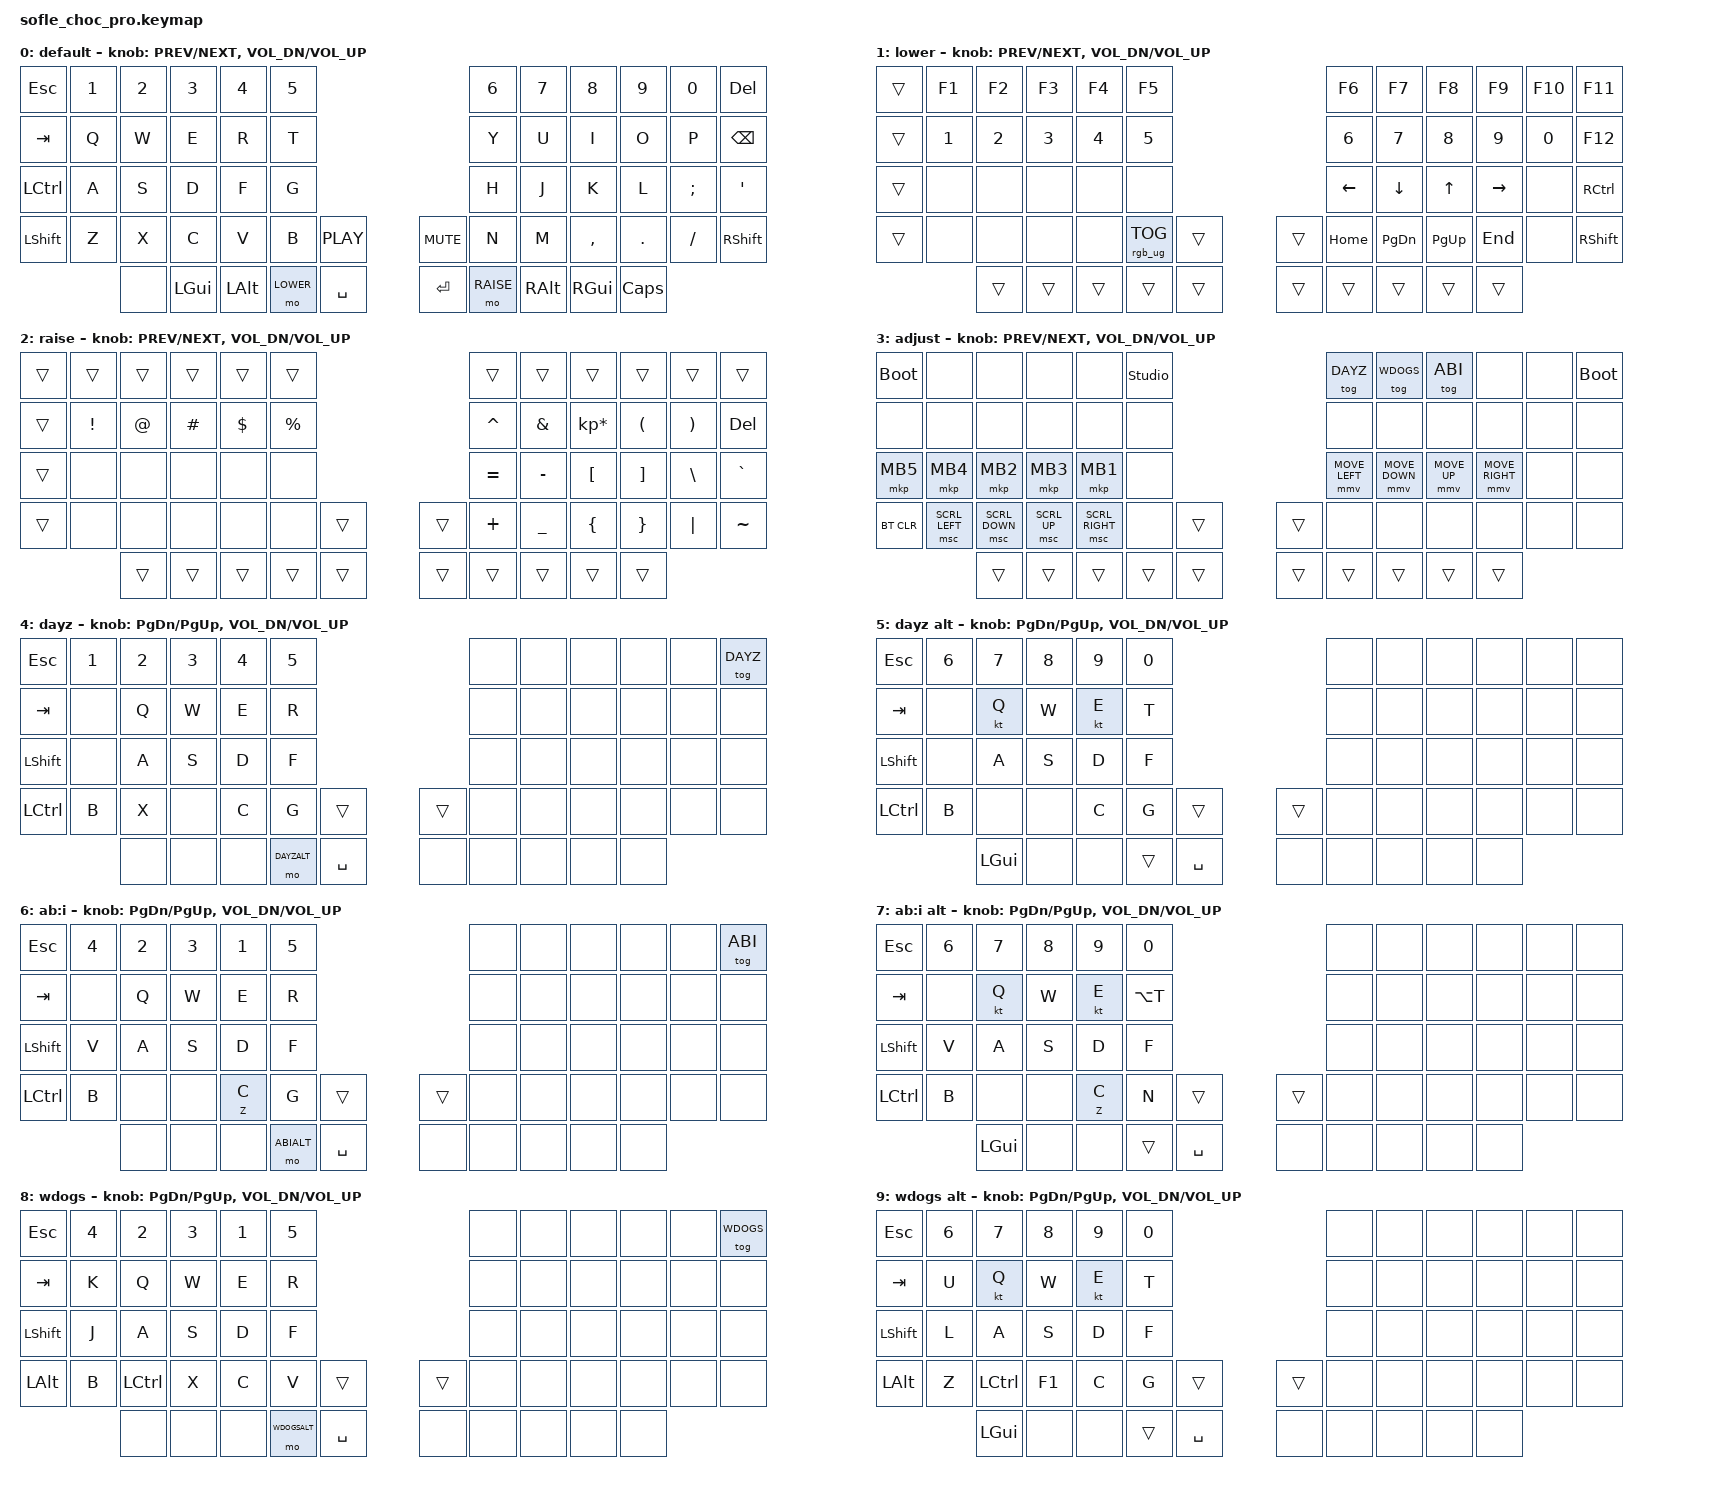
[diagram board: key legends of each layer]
/*
* Copyright (c) 2020 The ZMK Contributors
*
* SPDX-License-Identifier: MIT
*/

#include <behaviors.dtsi>
#include <dt-bindings/zmk/keys.h>
#include <dt-bindings/zmk/bt.h>
#include <dt-bindings/zmk/rgb.h>
#include <dt-bindings/zmk/ext_power.h>
#include <dt-bindings/zmk/pointing.h>
#include <dt-bindings/zmk/behaviors.h>

#define BASE 0
#define LOWER 1
#define RAISE 2
#define ADJUST 3

#define DAYZ 4
#define DAYZALT 5

#define ABI 6
#define ABIALT 7

#define WDOGS 8
#define WDOGSALT 9

#define ZMK_POINTING_DEFAULT_MOVE_VAL 1500  // default: 600
#define ZMK_POINTING_DEFAULT_SCRL_VAL 20    // default: 10

/ {
  // Activate ADJUST layer by pressing raise and lower
  conditional_layers {
    compatible = "zmk,conditional-layers";
    adjust_layer {
      if-layers = <LOWER RAISE>;
      then-layer = <ADJUST>;
    };
  };

  behaviors {
    mt: mod_tap {
        compatible = "zmk,behavior-hold-tap";
        #binding-cells = <2>;
        flavor = "tap-preferred";
        tapping-term-ms = <350>;
        bindings = <&kp>, <&kp>;
        display-name = "Mod-Tap";
    };
  };

  keymap {
    compatible = "zmk,keymap";

    default_layer {
      display-name = "default";
      // ┌─────┬─────┬─────┬─────┬─────┬─────┬──────────────────┬─────┬─────┬─────┬─────┬─────┬─────┐
      // │ ESC │  1  │  2  │  3  │  4  │  5  │                  │  6  │  7  │  8  │  9  │  0  │ DEL │
      // ├─────┼─────┼─────┼─────┼─────┼─────┼──────────────────┼─────┼─────┼─────┼─────┼─────┼─────┤
      // │ TAB │  Q  │  W  │  E  │  R  │  T  │                  │  Y  │  U  │  I  │  O  │  P  │ BSPC│
      // ├─────┼─────┼─────┼─────┼─────┼─────┼──────────────────┼─────┼─────┼─────┼─────┼─────┼─────┤
      // │ CTRL│  A  │  S  │  D  │  F  │  G  │                  │  H  │  J  │  K  │  L  │  ;  │  '  │
      // ├─────┼─────┼─────┼─────┼─────┼─────┼──────────────────┼─────┼─────┼─────┼─────┼─────┼─────┤
      // │ SHFT│  Z  │  X  │  C  │  V  │  B  │    PLAY   MUTE   │  N  │  M  │  ,  │  .  │  /  │ SHFT│
      // └─────┴─────┴─────┴─────┴─────┴─────┴──────────────────┴─────┴─────┴─────┴─────┴─────┴─────┘
      // ┌─────┬─────┬─────┬─────┬─────┬──────────────────────────────┬─────┬─────┬─────┬─────┬─────┐
      // │     │ GUI │ ALT │LOWER│SPACE│                              │ENTER│RAISE│ ALT │ GUI │CAPS │
      // └─────┴─────┴─────┴─────┴─────┴──────────────────────────────┴─────┴─────┴─────┴─────┴─────┘
      bindings = <
        &kp ESC   &kp N1 &kp N2  &kp N3 &kp N4 &kp N5                           &kp N6 &kp N7 &kp N8    &kp N9  &kp N0   &kp DEL
        &kp TAB   &kp Q  &kp W   &kp E  &kp R  &kp T                            &kp Y  &kp U  &kp I     &kp O   &kp P    &kp BSPC
        &kp LCTRL &kp A  &kp S   &kp D  &kp F  &kp G                            &kp H  &kp J  &kp K     &kp L   &kp SEMI &kp SQT
        &kp LSHFT &kp Z  &kp X   &kp C  &kp V  &kp B   &kp C_PLAY &kp C_MUTE    &kp N  &kp M  &kp COMMA &kp DOT &kp FSLH &kp RSHFT
          &none &kp LGUI &kp LALT &mo LOWER &kp SPACE      &kp RET &mo RAISE &kp RALT &kp RGUI &kp CAPS
      >;

      sensor-bindings = <&inc_dec_kp C_PREV C_NEXT &inc_dec_kp C_VOL_DN C_VOL_UP>;
    };

    lower_layer {
      display-name = "lower";
      // ┌─────┬─────┬─────┬─────┬─────┬─────┬──────────────────┬─────┬─────┬─────┬─────┬─────┬─────┐
      // │ ··· │  F1 │  F2 │  F3 │  F4 │  F5 │                  │  F6 │  F7 │  F8 │  F9 │ F10 │ F11 │
      // ├─────┼─────┼─────┼─────┼─────┼─────┼──────────────────┼─────┼─────┼─────┼─────┼─────┼─────┤
      // │ ··· │  1  │  2  │  3  │  4  │  5  │                  │  6  │  7  │  8  │  9  │  0  │ F12 │
      // ├─────┼─────┼─────┼─────┼─────┼─────┼──────────────────┼─────┼─────┼─────┼─────┼─────┼─────┤
      // │ ··· │     │     │     │     │     │                  │  ←  │  ↓  │  ↑  │  →  │     │RCTRL│
      // ├─────┼─────┼─────┼─────┼─────┼─────┼──────────────────┼─────┼─────┼─────┼─────┼─────┼─────┤
      // │ ··· │     │     │     │     │ RGB │     ···  ···     │ HOME│ PGDN│ PGUP│ END │     │RSHFT│
      // └─────┴─────┴─────┴─────┴─────┴─────┴──────────────────┴─────┴─────┴─────┴─────┴─────┴─────┘
      // ┌─────┬─────┬─────┬─────┬─────┬──────────────────────────────┬─────┬─────┬─────┬─────┬─────┐
      // │ ··· │ ··· │ ··· │ ··· │ ··· │                              │ ··· │ ··· │ ··· │ ··· │ ··· │
      // └─────┴─────┴─────┴─────┴─────┴──────────────────────────────┴─────┴─────┴─────┴─────┴─────┘
      // ··· = transparent (base layer key)
      bindings = <
        &trans   &kp F1   &kp F2 &kp F3 &kp F4 &kp F5                            &kp F6    &kp F7   &kp F8    &kp F9    &kp F10   &kp F11
        &trans   &kp N1   &kp N2 &kp N3 &kp N4 &kp N5                            &kp N6   &kp N7    &kp N8    &kp N9    &kp N0 &kp F12
        &trans   &none    &none  &none  &none  &none                             &kp LEFT &kp DOWN  &kp UP    &kp RIGHT &none  &kp RCTRL
        &trans   &none    &none  &none  &none  &rgb_ug RGB_TOG &trans   &trans   &kp HOME &kp PG_DN &kp PG_UP &kp END   &none  &kp RSHFT
          &trans   &trans      &trans    &trans     &trans                         &trans  &trans    &trans   &trans    &trans
      >;

      sensor-bindings = <&inc_dec_kp C_PREV C_NEXT &inc_dec_kp C_VOL_DN C_VOL_UP>;
    };

    raise_layer {
      display-name = "raise";
      // ┌─────┬─────┬─────┬─────┬─────┬─────┬──────────────────┬─────┬─────┬─────┬─────┬─────┬─────┐
      // │ ··· │ ··· │ ··· │ ··· │ ··· │ ··· │                  │ ··· │ ··· │ ··· │ ··· │ ··· │ ··· │
      // ├─────┼─────┼─────┼─────┼─────┼─────┼──────────────────┼─────┼─────┼─────┼─────┼─────┼─────┤
      // │ ··· │  !  │  @  │  #  │  $  │  %  │                  │  ^  │  &  │  *  │  (  │  )  │ DEL │
      // ├─────┼─────┼─────┼─────┼─────┼─────┼──────────────────┼─────┼─────┼─────┼─────┼─────┼─────┤
      // │ ··· │     │     │     │     │     │                  │  =  │  -  │  [  │  ]  │  \  │  `  │
      // ├─────┼─────┼─────┼─────┼─────┼─────┼──────────────────┼─────┼─────┼─────┼─────┼─────┼─────┤
      // │ ··· │     │     │     │     │     │     ···  ···     │  +  │  _  │  {  │  }  │  |  │  ~  │
      // └─────┴─────┴─────┴─────┴─────┴─────┴──────────────────┴─────┴─────┴─────┴─────┴─────┴─────┘
      // ┌─────┬─────┬─────┬─────┬─────┬──────────────────────────────┬─────┬─────┬─────┬─────┬─────┐
      // │ ··· │ ··· │ ··· │ ··· │ ··· │                              │ ··· │ ··· │ ··· │ ··· │ ··· │
      // └─────┴─────┴─────┴─────┴─────┴──────────────────────────────┴─────┴─────┴─────┴─────┴─────┘
      // ··· = transparent (base layer key)
      bindings = <
        &trans    &trans    &trans    &trans     &trans     &trans                         &trans    &trans    &trans          &trans   &trans   &trans
        &trans    &kp EXCL  &kp AT    &kp HASH   &kp DOLLAR &kp PRCNT                      &kp CARET &kp AMPS  &kp KP_MULTIPLY &kp LPAR &kp RPAR &kp DEL
        &trans    &none     &none     &none      &none      &none                          &kp EQUAL &kp MINUS &kp LBKT        &kp RBKT &kp BSLH &kp GRAVE
        &trans    &none     &none     &none      &none      &none      &trans   &trans     &kp PLUS  &kp UNDER &kp LBRC        &kp RBRC &kp PIPE &kp TILDE
          &trans       &trans       &trans       &trans          &trans                &trans    &trans    &trans    &trans    &trans
      >;

      sensor-bindings = <&inc_dec_kp C_PREV C_NEXT &inc_dec_kp C_VOL_DN C_VOL_UP>;
    };

    adjust_layer {
      // ┌─────┬─────┬─────┬─────┬─────┬─────┬──────────────────┬─────┬─────┬─────┬─────┬─────┬─────┐
      // │RESET│     │     │     │     │UNLCK│                  │DAYZ │WDOGS│AB:I │     │     │RESET│
      // ├─────┼─────┼─────┼─────┼─────┼─────┼──────────────────┼─────┼─────┼─────┼─────┼─────┼─────┤
      // │     │     │     │     │     │     │                  │     │     │     │     │     │     │
      // ├─────┼─────┼─────┼─────┼─────┼─────┼──────────────────┼─────┼─────┼─────┼─────┼─────┼─────┤
      // │ MB5 │ MB4 │ MB2 │ MB3 │ MB1 │     │                  │  m← │  m↓ │  m↑ │  m→ │     │     │
      // ├─────┼─────┼─────┼─────┼─────┼─────┼──────────────────┼─────┼─────┼─────┼─────┼─────┼─────┤
      // │BTCLR│  s← │  s↓ │  s↑ │  s→ │     │     ···  ···     │     │ BT0 │ BT1 │ BT2 │ BT3 │ BT4 │
      // └─────┴─────┴─────┴─────┴─────┴─────┴──────────────────┴─────┴─────┴─────┴─────┴─────┴─────┘
      // ┌─────┬─────┬─────┬─────┬─────┬──────────────────────────────┬─────┬─────┬─────┬─────┬─────┐
      // │ ··· │ ··· │ ··· │ ··· │ ··· │                              │ ··· │ ··· │ ··· │ ··· │ ··· │
      // └─────┴─────┴─────┴─────┴─────┴──────────────────────────────┴─────┴─────┴─────┴─────┴─────┘
      // UNLK = unlock Sofle Studio  ·  m = mouse move  ·  s = scroll  ·  ··· = transparent
      display-name = "adjust";
      bindings = <
        &bootloader    &none          &none          &none        &none           &studio_unlock                 &tog DAYZ       &tog WDOGS      &tog ABI      &none            &none   &bootloader
        &none          &none          &none          &none        &none           &none                          &none           &none           &none         &none            &none   &none
        &mkp MB5       &mkp MB4       &mkp MB2       &mkp MB3     &mkp MB1        &none                          &mmv MOVE_LEFT  &mmv MOVE_DOWN  &mmv MOVE_UP  &mmv MOVE_RIGHT  &none   &none
        &bt BT_CLR     &msc SCRL_LEFT &msc SCRL_DOWN &msc SCRL_UP &msc SCRL_RIGHT &none   &trans    &trans       &none           &none           &none         &none            &none   &none
         &trans       &trans       &trans       &trans          &trans                &trans    &trans    &trans    &trans    &trans
      >;
      sensor-bindings = <&inc_dec_kp C_PREV C_NEXT &inc_dec_kp C_VOL_DN C_VOL_UP>;
    };

    dayz_layer {
      display-name = "dayz";
      // ┌─────┬─────┬─────┬─────┬─────┬─────┬──────────────────┬─────┬─────┬─────┬─────┬─────┬─────┐
      // │ ESC │  1  │  2  │  3  │  4  │  5  │                  │     │     │     │     │     │!DAYZ│
      // ├─────┼─────┼─────┼─────┼─────┼─────┼──────────────────┼─────┼─────┼─────┼─────┼─────┼─────┤
      // │ TAB │     │  Q  │  W  │  E  │  R  │                  │     │     │     │     │     │     │
      // ├─────┼─────┼─────┼─────┼─────┼─────┼──────────────────┼─────┼─────┼─────┼─────┼─────┼─────┤
      // │ SHFT│     │  A  │  S  │  D  │  F  │                  │     │     │     │     │     │     │
      // ├─────┼─────┼─────┼─────┼─────┼─────┼──────────────────┼─────┼─────┼─────┼─────┼─────┼─────┤
      // │ CTRL│  B  │  X  │     │  C  │  G  │     ···  ···     │     │     │     │     │     │     │
      // └─────┴─────┴─────┴─────┴─────┴─────┴──────────────────┴─────┴─────┴─────┴─────┴─────┴─────┘
      // ┌─────┬─────┬─────┬─────┬─────┬──────────────────────────────┬─────┬─────┬─────┬─────┬─────┐
      // │     │     │     │DAYZ │SPACE│                              │     │     │     │     │     │
      // └─────┴─────┴─────┴─────┴─────┴──────────────────────────────┴─────┴─────┴─────┴─────┴─────┘
      bindings = <
        &kp ESC   &kp N1 &kp N2  &kp N3 &kp N4 &kp N5                           &none  &none  &none  &none  &none  &tog DAYZ
        &kp TAB   &none  &kp Q   &kp W  &kp E  &kp R                            &none  &none  &none  &none  &none  &none
        &kp LSHFT &none  &kp A  &kp S   &kp D  &kp F                            &none  &none  &none  &none  &none  &none
        &kp LCTRL &kp B  &kp X   &none  &kp C  &kp G     &trans     &trans      &none  &none  &none  &none  &none  &none
          &none  &none  &none  &mo DAYZALT &kp SPACE                                 &none  &none  &none  &none  &none
      >;
      sensor-bindings = <&inc_dec_kp PG_DN PG_UP &inc_dec_kp C_VOL_DN C_VOL_UP>;
    };
    
    dayz_alt_layer {
      display-name = "dayz alt";
      // ┌─────┬─────┬─────┬─────┬─────┬─────┬──────────────────┬─────┬─────┬─────┬─────┬─────┬─────┐
      // │ ESC │  6  │  7  │  8  │  9  │  0  │                  │     │     │     │     │     │     │
      // ├─────┼─────┼─────┼─────┼─────┼─────┼──────────────────┼─────┼─────┼─────┼─────┼─────┼─────┤
      // │ TAB │     │  Q  │  W  │  E  │  T  │                  │     │     │     │     │     │     │
      // ├─────┼─────┼─────┼─────┼─────┼─────┼──────────────────┼─────┼─────┼─────┼─────┼─────┼─────┤
      // │ SHFT│     │  A  │  S  │  D  │  F  │                  │     │     │     │     │     │     │
      // ├─────┼─────┼─────┼─────┼─────┼─────┼──────────────────┼─────┼─────┼─────┼─────┼─────┼─────┤
      // │ CTRL│  B  │     │     │  C  │  G  │     ···  ···     │     │     │     │     │     │     │
      // └─────┴─────┴─────┴─────┴─────┴─────┴──────────────────┴─────┴─────┴─────┴─────┴─────┴─────┘
      // ┌─────┬─────┬─────┬─────┬─────┬──────────────────────────────┬─────┬─────┬─────┬─────┬─────┐
      // │LGUI │     │     │ ... │SPACE│                              │     │     │     │     │     │
      // └─────┴─────┴─────┴─────┴─────┴──────────────────────────────┴─────┴─────┴─────┴─────┴─────┘
      bindings = <
        &kp ESC   &kp N6 &kp N7  &kp N8 &kp N9 &kp N0                           &none  &none  &none  &none  &none  &none
        &kp TAB   &none  &kt Q   &kp W  &kt E  &kp T                            &none  &none  &none  &none  &none  &none
        &kp LSHFT &none  &kp A   &kp S  &kp D  &kp F                            &none  &none  &none  &none  &none  &none
        &kp LCTRL &kp B  &none   &none  &kp C  &kp G     &trans     &trans      &none  &none  &none  &none  &none  &none
          &kp LGUI  &none  &none  &trans &kp SPACE                                 &none  &none  &none  &none  &none
      >;
      sensor-bindings = <&inc_dec_kp PG_DN PG_UP &inc_dec_kp C_VOL_DN C_VOL_UP>;
    };

    abi_layer {
      display-name = "ab:i";
      // ┌─────┬─────┬─────┬─────┬─────┬─────┬──────────────────┬─────┬─────┬─────┬─────┬─────┬─────┐
      // │ ESC │  4  │  2  │  3  │  1  │  5  │                  │     │     │     │     │     │!AB:I│
      // ├─────┼─────┼─────┼─────┼─────┼─────┼──────────────────┼─────┼─────┼─────┼─────┼─────┼─────┤
      // │ TAB │     │  Q  │  W  │  E  │  R  │                  │     │     │     │     │     │     │
      // ├─────┼─────┼─────┼─────┼─────┼─────┼──────────────────┼─────┼─────┼─────┼─────┼─────┼─────┤
      // │ SHFT│  V  │  A  │  S  │  D  │  F  │                  │     │     │     │     │     │     │
      // ├─────┼─────┼─────┼─────┼─────┼─────┼──────────────────┼─────┼─────┼─────┼─────┼─────┼─────┤
      // │ CTRL│  B  │     │     │ Z|C │  G  │     ···  ···     │     │     │     │     │     │     │
      // └─────┴─────┴─────┴─────┴─────┴─────┴──────────────────┴─────┴─────┴─────┴─────┴─────┴─────┘
      // ┌─────┬─────┬─────┬─────┬─────┬──────────────────────────────┬─────┬─────┬─────┬─────┬─────┐
      // │     │     │     │AB:I │SPACE│                              │     │     │     │     │     │
      // └─────┴─────┴─────┴─────┴─────┴──────────────────────────────┴─────┴─────┴─────┴─────┴─────┘
      bindings = <
        &kp ESC   &kp N4 &kp N2  &kp N3 &kp N1  &kp N5                           &none  &none  &none  &none  &none  &tog ABI
        &kp TAB   &none  &kp Q   &kp W  &kp E   &kp R                            &none  &none  &none  &none  &none  &none
        &kp LSHFT &kp V  &kp A   &kp S  &kp D   &kp F                            &none  &none  &none  &none  &none  &none
        &kp LCTRL &kp B  &none   &none  &mt Z C &kp G     &trans     &trans      &none  &none  &none  &none  &none  &none
          &none  &none  &none  &mo ABIALT &kp SPACE                                &none  &none  &none  &none  &none
      >;
      sensor-bindings = <&inc_dec_kp PG_DN PG_UP &inc_dec_kp C_VOL_DN C_VOL_UP>;
    };
    
    abi_alt_layer {
      display-name = "ab:i alt";
      // ┌─────┬─────┬─────┬─────┬─────┬─────┬──────────────────┬─────┬─────┬─────┬─────┬─────┬─────┐
      // │ ESC │  6  │  7  │  8  │  9  │  0  │                  │     │     │     │     │     │     │
      // ├─────┼─────┼─────┼─────┼─────┼─────┼──────────────────┼─────┼─────┼─────┼─────┼─────┼─────┤
      // │ TAB │     │ Q(t)│  W  │ E(t)│T(la)│                  │     │     │     │     │     │     │
      // ├─────┼─────┼─────┼─────┼─────┼─────┼──────────────────┼─────┼─────┼─────┼─────┼─────┼─────┤
      // │ SHFT│  V  │  A  │  S  │  D  │  F  │                  │     │     │     │     │     │     │
      // ├─────┼─────┼─────┼─────┼─────┼─────┼──────────────────┼─────┼─────┼─────┼─────┼─────┼─────┤
      // │ CTRL│  B  │     │     │ Z|C │  N  │     ···  ···     │     │     │     │     │     │     │
      // └─────┴─────┴─────┴─────┴─────┴─────┴──────────────────┴─────┴─────┴─────┴─────┴─────┴─────┘
      // ┌─────┬─────┬─────┬─────┬─────┬──────────────────────────────┬─────┬─────┬─────┬─────┬─────┐
      // │LGUI │     │     │ ... │SPACE│                              │     │     │     │     │     │
      // └─────┴─────┴─────┴─────┴─────┴──────────────────────────────┴─────┴─────┴─────┴─────┴─────┘
      bindings = <
        &kp ESC   &kp N6 &kp N7  &kp N8 &kp N9  &kp N0                           &none  &none  &none  &none  &none  &none
        &kp TAB   &none  &kt Q   &kp W  &kt E   &kp LA(T)                        &none  &none  &none  &none  &none  &none
        &kp LSHFT &kp V  &kp A   &kp S  &kp D   &kp F                            &none  &none  &none  &none  &none  &none
        &kp LCTRL &kp B  &none   &none  &mt Z C &kp N     &trans     &trans      &none  &none  &none  &none  &none  &none
          &kp LGUI  &none  &none  &trans &kp SPACE                                 &none  &none  &none  &none  &none
      >;
      sensor-bindings = <&inc_dec_kp PG_DN PG_UP &inc_dec_kp C_VOL_DN C_VOL_UP>;
    };

    wdogs_layer {
      display-name = "wdogs";
      // ┌─────┬─────┬─────┬─────┬─────┬─────┬──────────────────┬─────┬─────┬─────┬─────┬─────┬─────┐
      // │ ESC │  3  │  2  │  4  │  1  │  5  │                  │     │     │     │     │     │!WDOG│
      // ├─────┼─────┼─────┼─────┼─────┼─────┼──────────────────┼─────┼─────┼─────┼─────┼─────┼─────┤
      // │ TAB │  K  │  Q  │  W  │  E  │  R  │                  │     │     │     │     │     │     │
      // ├─────┼─────┼─────┼─────┼─────┼─────┼──────────────────┼─────┼─────┼─────┼─────┼─────┼─────┤
      // │ SHFT│  J  │  A  │  S  │  D  │  F  │                  │     │     │     │     │     │     │
      // ├─────┼─────┼─────┼─────┼─────┼─────┼──────────────────┼─────┼─────┼─────┼─────┼─────┼─────┤
      // │ CTRL│  B  │CTRL │  X  │  C  │  V  │     ···  ···     │     │     │     │     │     │     │
      // └─────┴─────┴─────┴─────┴─────┴─────┴──────────────────┴─────┴─────┴─────┴─────┴─────┴─────┘
      // ┌─────┬─────┬─────┬─────┬─────┬──────────────────────────────┬─────┬─────┬─────┬─────┬─────┐
      // │     │     │     │WDOGS│SPACE│                              │     │     │     │     │     │
      // └─────┴─────┴─────┴─────┴─────┴──────────────────────────────┴─────┴─────┴─────┴─────┴─────┘
      bindings = <
        &kp ESC   &kp N4 &kp N2     &kp N3 &kp N1 &kp N5                           &none  &none  &none  &none  &none  &tog WDOGS
        &kp TAB   &kp K  &kp Q      &kp W  &kp E  &kp R                            &none  &none  &none  &none  &none  &none
        &kp LSHFT &kp J  &kp A      &kp S  &kp D  &kp F                            &none  &none  &none  &none  &none  &none
        &kp LALT  &kp B  &kp LCTRL  &kp X  &kp C  &kp V     &trans     &trans      &none  &none  &none  &none  &none  &none
          &none  &none  &none  &mo WDOGSALT &kp SPACE                               &none  &none  &none  &none  &none
      >;
      sensor-bindings = <&inc_dec_kp PG_DN PG_UP &inc_dec_kp C_VOL_DN C_VOL_UP>;
    };
    
    wdogs_alt_layer {
      display-name = "wdogs alt";
      // ┌─────┬─────┬─────┬─────┬─────┬─────┬──────────────────┬─────┬─────┬─────┬─────┬─────┬─────┐
      // │ ESC │  6  │  7  │  8  │  9  │  0  │                  │     │     │     │     │     │     │
      // ├─────┼─────┼─────┼─────┼─────┼─────┼──────────────────┼─────┼─────┼─────┼─────┼─────┼─────┤
      // │ TAB │  U  │ Q(t)│  W  │ E(t)│  T  │                  │     │     │     │     │     │     │
      // ├─────┼─────┼─────┼─────┼─────┼─────┼──────────────────┼─────┼─────┼─────┼─────┼─────┼─────┤
      // │ SHFT│  L  │  A  │  S  │  D  │  F  │                  │     │     │     │     │     │     │
      // ├─────┼─────┼─────┼─────┼─────┼─────┼──────────────────┼─────┼─────┼─────┼─────┼─────┼─────┤
      // │ ALT │  Z  │  X  │  F1 │  C  │  G  │     ···  ···     │     │     │     │     │     │     │
      // └─────┴─────┴─────┴─────┴─────┴─────┴──────────────────┴─────┴─────┴─────┴─────┴─────┴─────┘
      // ┌─────┬─────┬─────┬─────┬─────┬──────────────────────────────┬─────┬─────┬─────┬─────┬─────┐
      // │LGUI │     │     │ ... │SPACE│                              │     │     │     │     │     │
      // └─────┴─────┴─────┴─────┴─────┴──────────────────────────────┴─────┴─────┴─────┴─────┴─────┘
      bindings = <
        &kp ESC   &kp N6 &kp N7     &kp N8 &kp N9 &kp N0                           &none  &none  &none  &none  &none  &none
        &kp TAB   &kp U  &kt Q      &kp W  &kt E  &kp T                            &none  &none  &none  &none  &none  &none
        &kp LSHFT &kp L  &kp A      &kp S  &kp D  &kp F                            &none  &none  &none  &none  &none  &none
        &kp LALT  &kp Z  &kp LCTRL  &kp F1 &kp C  &kp G     &trans     &trans      &none  &none  &none  &none  &none  &none
          &kp LGUI  &none  &none  &trans &kp SPACE                                  &none  &none  &none  &none  &none
      >;
      sensor-bindings = <&inc_dec_kp PG_DN PG_UP &inc_dec_kp C_VOL_DN C_VOL_UP>;
    };
  };
};
